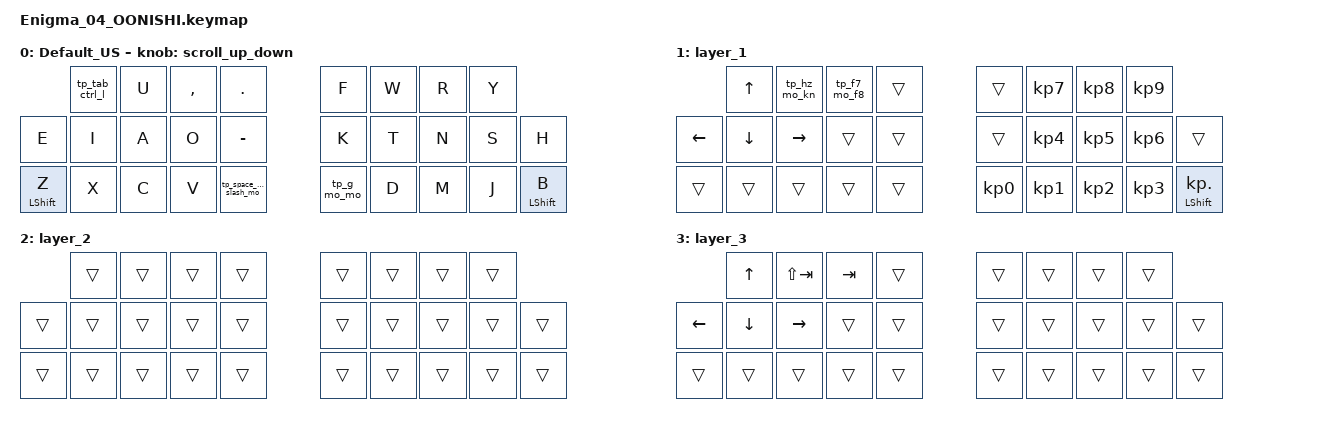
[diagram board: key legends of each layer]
#include <behaviors.dtsi>
#include <dt-bindings/zmk/keys.h>
#include <dt-bindings/zmk/pointing.h>

// #include <layout_shift_kp_override.dtsi>

#define ZMK_POINTING_DEFAULT_SCRL_VAL 100

/ {
    behaviors {
        // Keep the original key_press behavior for ZMK core components

        original_key_press: original_key_press {
            compatible = "zmk,behavior-key-press";
            #binding-cells = <1>;
            label = "KEY_PRESS";
        };

        // Override the existing &kp behavior to use our custom implementation

        kp: key_press {
            compatible = "zmk,behavior-layout-shift-key-press";
            #binding-cells = <1>;
            label = "LAYOUT_SHIFT_KEY_PRESS";
        };

        scroll_up_down: behavior_sensor_rotate_mouse_wheel_up_down {
            compatible = "zmk,behavior-sensor-rotate";
            #sensor-binding-cells = <0>;
            bindings = <&msc SCRL_UP>, <&msc SCRL_DOWN>;

            tap-ms = <20>;
        };

        scroll_left_right: behavior_sensor_rotate_mouse_wheel_left_right {
            compatible = "zmk,behavior-sensor-rotate";
            #sensor-binding-cells = <0>;
            bindings = <&msc SCRL_LEFT>, <&msc SCRL_RIGHT>;

            tap-ms = <20>;
        };

        arrow_left_right: behavior_sensor_rotate_arrow_le {
            compatible = "zmk,behavior-sensor-rotate";
            #sensor-binding-cells = <0>;
            bindings = <&kp LEFT>, <&kp RIGHT>;

            tap-ms = <20>;
        };

        arrow_up_down: behavior_sensor_rotate_arrow_up {
            compatible = "zmk,behavior-sensor-rotate";
            #sensor-binding-cells = <0>;
            bindings = <&kp UP>, <&kp DOWN>;

            tap-ms = <20>;
        };

        page_up_down: behavior_sensor_rotate_page_up_ {
            compatible = "zmk,behavior-sensor-rotate";
            #sensor-binding-cells = <0>;
            bindings = <&kp PAGE_UP>, <&kp PAGE_DOWN>;

            tap-ms = <20>;
        };

        tp_tab_ctrl_l: tp_tab_ctrl_l {
            compatible = "zmk,behavior-tap-dance";
            label = "TP_TAB_CTRL_L";
            #binding-cells = <0>;
            bindings = <&mt LCTRL TAB>, <&kp L>;
        };

        tp_z_shift_ctrl: tp_z_shift_ctrl {
            compatible = "zmk,behavior-tap-dance";
            label = "TP_Z_SHIFT_CTRL";
            #binding-cells = <0>;
            bindings = <&mt LSHIFT Z>, <&kp LCTRL>;
        };

        tp_f7_mo_f8: tp_f7_mo_f8 {
            compatible = "zmk,behavior-tap-dance";
            label = "TP_F7_MO_F8";
            #binding-cells = <0>;
            bindings = <&lt 5 F7>, <&kp F8>;
        };

        tp_hz_mo_kn: tp_hz_mo_kn {
            compatible = "zmk,behavior-tap-dance";
            label = "TP_HZ_MO_KN";
            #binding-cells = <0>;
            bindings = <&lt 5 TILDE>;
        };

        tp_space_mo_slash_mo: tp_space_mo_slash_mo {
            compatible = "zmk,behavior-tap-dance";
            label = "TP_SPACE_MO_SLASH_MO";
            #binding-cells = <0>;
            bindings = <&lt 1 SPACE>, <&lt 2 SLASH>;
        };

        tp_g_mo_mo: tp_g_mo_mo {
            compatible = "zmk,behavior-tap-dance";
            label = "TP_G_MO_MO";
            #binding-cells = <0>;
            bindings = <&lt 1 G>, <&mo 2>;
        };
    };

    combos {
        compatible = "zmk,combos";

        enter {
            bindings = <&kp ENTER>;
            key-positions = <6 7>;
        };

        backspace {
            bindings = <&kp BACKSPACE>;
            key-positions = <4 5>;
        };

        q {
            bindings = <&kp Q>;
            key-positions = <8 0>;
            layers = <0>;
        };

        p {
            bindings = <&kp P>;
            key-positions = <7 17>;
            layers = <0>;
        };

        equal {
            bindings = <&kt KP_EQUAL>;
            key-positions = <11 12>;
        };
    };

    keymap {
        compatible = "zmk,keymap";

        Default_US {
            bindings = <
                  &tp_tab_ctrl_l  &kp U  &kp COMMA  &kp DOT                &kp F        &kp W  &kp R  &kp Y
&kp E             &kp I           &kp A  &kp O      &kp MINUS              &kp K        &kp T  &kp N  &kp S  &kp H
&mt LEFT_SHIFT Z  &kp X           &kp C  &kp V      &tp_space_mo_slash_mo  &tp_g_mo_mo  &kp D  &kp M  &kp J  &mt LEFT_SHIFT B
            >;

            sensor-bindings = <&scroll_up_down>;
        };

        layer_1 {
            bindings = <
          &kp UP    &tp_hz_mo_kn  &tp_f7_mo_f8  &trans  &trans     &kp KP_N7  &kp KP_N8  &kp KP_N9
&kp LEFT  &kp DOWN  &kp RIGHT     &trans        &trans  &trans     &kp KP_N4  &kp KP_N5  &kp KP_N6  &trans
&trans    &trans    &trans        &trans        &trans  &kp KP_N0  &kp KP_N1  &kp KP_N2  &kp KP_N3  &mt LEFT_SHIFT KP_DOT
            >;
        };

        layer_2 {
            bindings = <
        &trans  &trans  &trans  &trans  &trans  &trans  &trans  &trans
&trans  &trans  &trans  &trans  &trans  &trans  &trans  &trans  &trans  &trans
&trans  &trans  &trans  &trans  &trans  &trans  &trans  &trans  &trans  &trans
            >;
        };

        layer_3 {
            bindings = <
          &kp UP    &kp LS(TAB)  &kp TAB  &trans  &trans  &trans  &trans  &trans
&kp LEFT  &kp DOWN  &kp RIGHT    &trans   &trans  &trans  &trans  &trans  &trans  &trans
&trans    &trans    &trans       &trans   &trans  &trans  &trans  &trans  &trans  &trans
            >;
        };
    };
};
